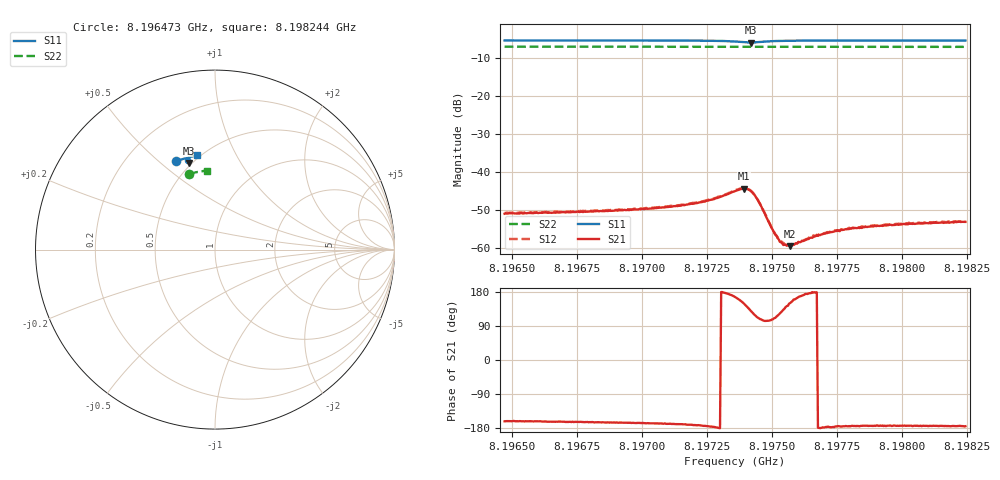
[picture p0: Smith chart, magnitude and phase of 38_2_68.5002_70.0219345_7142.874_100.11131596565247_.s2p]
#  HZ  S  RI  R  50.00
! Rohde & Schwarz Vector Network Analyzer
! Rohde-Schwarz,ZNB20-2Port,1311601062101988,3.16
! Created: UTC 3/20/2024, 4:50:13 PM
! freq[Hz]  re:S11  im:S11  re:S21  im:S21  re:S12  im:S12  re:S22  im:S22
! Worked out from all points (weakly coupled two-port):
!   401 points, 8.196473 GHz to 8.198244 GHz, reference 50 ohm
!   highest |S21| = -44.32 dB at 8.197394 GHz (marker M1); lowest = -59.4 dB at 8.197571 GHz (marker M2)
!   lowest |S11| = -5.9 dB at 8.197421 GHz (marker M3), VSWR 3.04, Z = 24.1 + j31.2 ohm
!   |S11| at or under -10 dB: nowhere
!   |S22| runs from -7.1 to -7.0 dB; largest |S21 - S12| = 0.00034
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8.1964734e9  -0.2159 0.4915  -0.0027 -0.000895  -0.00278 -0.000851  -0.1435 0.4211
8.19677e9  -0.1953 0.4995  -0.0029 -0.000859  -0.00298 -0.000723  -0.1275 0.4258
8.1970667e9  -0.1732 0.5065  -0.00333 -0.000727  -0.00343 -0.000599  -0.1113 0.4296
8.1971685e9  -0.1642 0.5086  -0.00366 -0.000669  -0.00376 -0.000475  -0.1056 0.431
8.1972394e9  -0.1569 0.5091  -0.00408 -0.000437  -0.00418 -0.000285  -0.1017 0.4318
8.1973102e9  -0.1472 0.5074  -0.00485 6.63e-05  -0.00492 0.000325  -0.0976 0.4325
8.1973589e9  -0.1397 0.501  -0.0055 0.00132  -0.00554 0.00158  -0.0949 0.4327
8.1973944e9  -0.1387 0.4898  -0.00517 0.0032  -0.00511 0.00352  -0.093 0.4328
8.1974076e9  -0.142 0.4854  -0.0045 0.00395  -0.00438 0.00418  -0.0926 0.4328
8.1974209e9  -0.1472 0.4826  -0.0035 0.00436  -0.00336 0.00459  -0.0919 0.433
8.1974342e9  -0.1531 0.4827  -0.00243 0.00438  -0.00227 0.0045  -0.0912 0.4333
8.1974475e9  -0.1578 0.4855  -0.00155 0.00396  -0.00141 0.00405  -0.0906 0.4334
8.197505e9  -0.1609 0.5008  -0.000521 0.00164  -0.000482 0.00166  -0.0876 0.4343
8.1975228e9  -0.1593 0.5039  -0.000617 0.00121  -0.000592 0.00127  -0.0867 0.4346
8.1975405e9  -0.1575 0.5063  -0.000734 0.000898  -0.00073 0.000942  -0.0855 0.4348
8.1975582e9  -0.1557 0.508  -0.000854 0.000661  -0.000837 0.000724  -0.0844 0.435
8.1975715e9  -0.154 0.5092  -0.000929 0.000524  -0.000959 0.000588  -0.0838 0.4351
8.1975892e9  -0.1524 0.5106  -0.00107 0.000389  -0.00104 0.000444  -0.0828 0.4353
8.1976556e9  -0.1459 0.514  -0.00137 1.95e-05  -0.00143 0.000129  -0.0792 0.4358
8.1977751e9  -0.1355 0.5178  -0.00174 -0.000154  -0.00177 -8.76e-05  -0.0723 0.4368
8.1979522e9  -0.1219 0.5212  -0.00201 -0.000244  -0.00206 -0.000152  -0.0625 0.438
8.1982445e9  -0.1002 0.5257  -0.00221 -0.000204  -0.00228 -0.000117  -0.0459 0.4395
